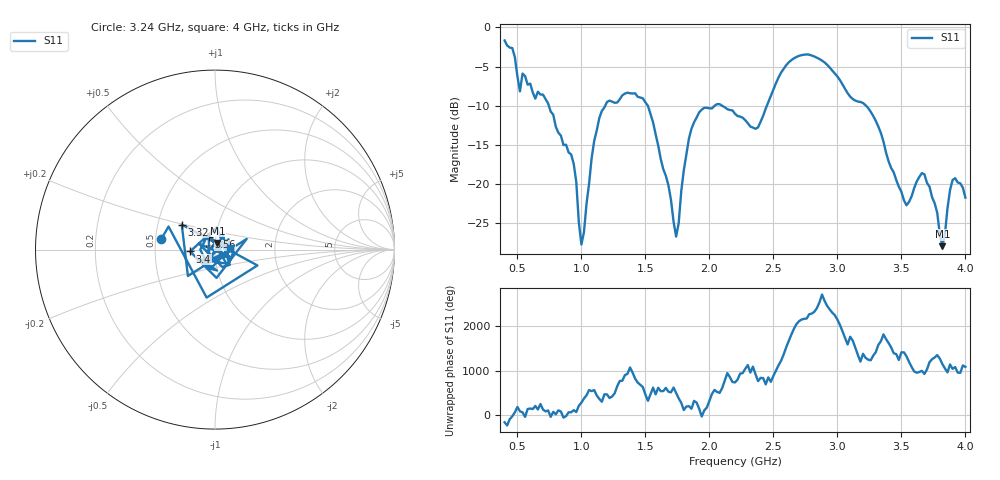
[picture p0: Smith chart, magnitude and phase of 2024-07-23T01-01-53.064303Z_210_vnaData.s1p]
!Created with skrf (http://scikit-rf.org).
# Hz S RI R 50.0
!freq ReS11 ImS11
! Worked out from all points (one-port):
!   181 points, 400 MHz to 4 GHz, reference 50 ohm
!   lowest |S11| = -28.0 dB at 3.82 GHz (marker M1), VSWR 1.08, Z = 51.3 + j3.84 ohm
!   |S11| at or under -10 dB: 745.3 MHz to 1.186 GHz (441.2 MHz wide, 45.7 % of centre); 1.519 GHz to 2.042 GHz (523.5 MHz wide, 29.4 % of centre); 3.223 GHz to end of sweep (the widest 3 of 4)
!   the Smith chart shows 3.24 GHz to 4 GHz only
!   S11 on the Smith chart (normalised r, x): 3.24 GHz: 0.54, +0.07; 3.32 GHz: 0.66, +0.20; 3.4 GHz: 0.76, -0.02; 3.56 GHz: 0.92, +0.13; 4 GHz: 1.18, +0.02
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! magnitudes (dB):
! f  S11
! 400 MHz  -1.7
! 460 MHz  -2.6
! 520 MHz  -8.2
! 540 MHz  -5.9
! 700 MHz  -8.6
! 860 MHz  -15.0
! 940 MHz  -17.5
! 1 GHz  -27.8
! 1.14 GHz  -11.6
! 1.3 GHz  -9.2
! 1.52 GHz  -10.0
! 1.74 GHz  -26.8
! 1.76 GHz  -25.1
! 1.84 GHz  -14.2
! 1.92 GHz  -10.9
! 2.2 GHz  -11.0
! 2.38 GHz  -12.8
! 2.66 GHz  -3.9
! 2.88 GHz  -4.2
! 3.1 GHz  -8.8
! 3.24 GHz  -10.3
! 3.32 GHz  -12.7
! 3.4 GHz  -17.1
! 3.56 GHz  -22.3
! 3.68 GHz  -18.8
! 3.82 GHz  -28.0
! 3.9 GHz  -19.5
! 4 GHz  -21.8
